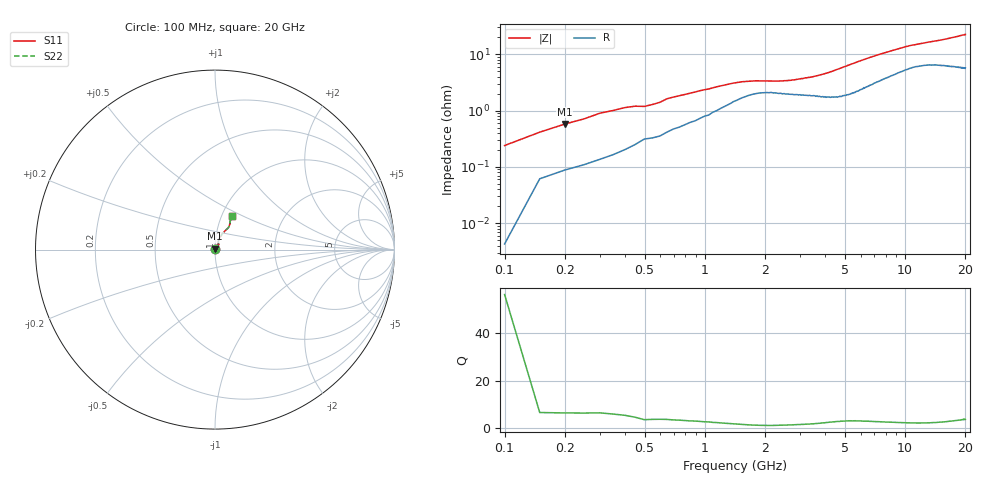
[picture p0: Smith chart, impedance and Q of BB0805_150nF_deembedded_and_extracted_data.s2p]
! Modelithics, Inc.
! 11/4/2002
! BB0805 150nF capacitor de-embedded and extracted s2p file.
# Hz  S  MA  R  50.00
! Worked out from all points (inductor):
!   401 points, 100 MHz to 20 GHz, reference 50 ohm
!   read as one part in series: L = 453 pH near 199.5 MHz
!   highest Q = 6.52 at 199.5 MHz (marker M1), where L = 453 pH
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1e8  0.002392 88.9  1 -0.1  1 -0.1  0.00239 88.8
1.4975e8  0.004134 81.4  0.9994 -0.2  0.9994 -0.2  0.004123 81.1
1.995e8  0.005744 80.9  0.9991 -0.3  0.9991 -0.3  0.00574 80.9
2.4925e8  0.007113 80.8  0.9989 -0.4  0.9989 -0.4  0.007109 80.7
2.99e8  0.008955 80.8  0.9986 -0.5  0.9986 -0.5  0.008965 80.7
3.4875e8  0.01003 80.0  0.9983 -0.6  0.9983 -0.6  0.01004 79.9
3.985e8  0.01127 79.1  0.9979 -0.6  0.9979 -0.6  0.01128 79.0
5.975e8  0.01399 74.7  0.9964 -0.8  0.9964 -0.8  0.014 74.6
7.4675e8  0.01825 72.9  0.9948 -1.0  0.9948 -1.0  0.01827 72.9
9.955e8  0.02328 69.1  0.9919 -1.3  0.9919 -1.3  0.02331 69.0
1.24425e9  0.02788 64.2  0.9882 -1.5  0.9881 -1.5  0.02791 64.1
1.44325e9  0.0309 59.5  0.9847 -1.5  0.9846 -1.5  0.03094 59.4
1.64225e9  0.03261 54.8  0.9815 -1.6  0.9815 -1.6  0.03264 54.7
2.53775e9  0.03329 53.2  0.9804 -1.6  0.9804 -1.6  0.03332 53.2
3.43325e9  0.03877 60.5  0.9815 -2.0  0.9814 -2.0  0.03882 60.4
5.3735e9  0.0651 68.8  0.9784 -3.6  0.9783 -3.6  0.06521 68.8
6.7665e9  0.08636 66.6  0.9689 -4.7  0.9688 -4.7  0.08648 66.5
8.3585e9  0.1076 63.4  0.9566 -5.8  0.9565 -5.8  0.1078 63.3
1.005e10  0.1287 60.4  0.9432 -6.8  0.9431 -6.8  0.1285 60.4
1.338325e10  0.1547 59.1  0.93 -8.2  0.9299 -8.2  0.1549 59.1
1.67165e10  0.1796 61.8  0.9287 -9.8  0.9285 -9.8  0.1801 61.8
2e10  0.2085 63.7  0.9266 -11.6  0.9261 -11.6  0.2085 63.5
